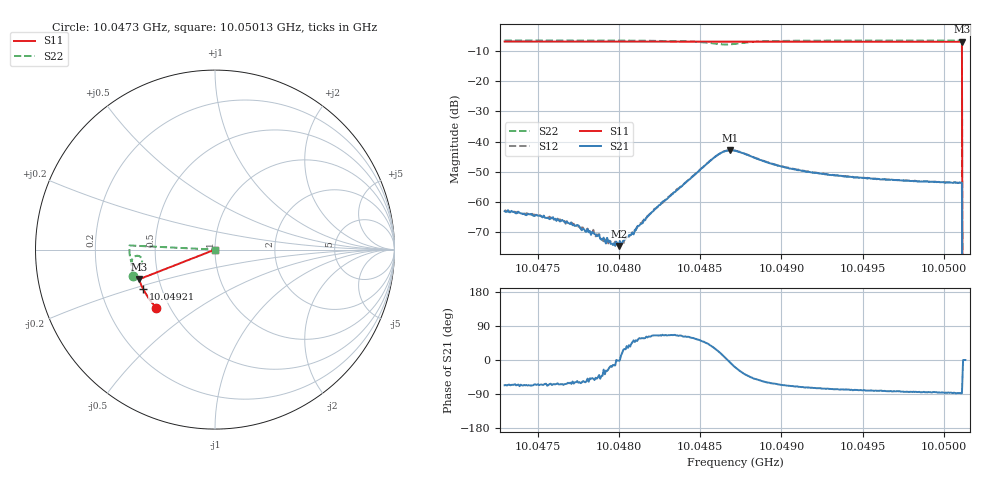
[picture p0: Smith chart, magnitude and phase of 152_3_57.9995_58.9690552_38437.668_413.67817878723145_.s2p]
#  HZ  S  RI  R  50.00
! Rohde & Schwarz Vector Network Analyzer
! Rohde-Schwarz,ZNB20-2Port,1311601062101988,3.16
! Created: UTC 3/21/2024, 12:57:05 AM
! freq[Hz]  re:S11  im:S11  re:S21  im:S21  re:S12  im:S12  re:S22  im:S22
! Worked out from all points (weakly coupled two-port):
!   401 points, 10.0473 GHz to 10.05013 GHz, reference 50 ohm
!   highest |S21| = -42.91 dB at 10.04869 GHz (marker M1); lowest = -74.7 dB at 10.048 GHz (marker M2)
!   lowest |S11| = -6.8 dB at 10.05011 GHz (marker M3), VSWR 2.67, Z = 19.3 - j8.07 ohm
!   |S11| at or under -10 dB: 10.05011 GHz to end of sweep
!   |S22| runs from - to -6.4 dB; largest |S21 - S12| = 0.00051
!   S11 on the Smith chart (normalised r, x): 10.0473 GHz: 0.42, -0.35; 10.04921 GHz: 0.39, -0.22; 10.05013 GHz: 1.00, +0.00
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1.0047297e10  -0.3278 -0.3232  0.000276 -0.000639  0.000317 -0.000652  -0.4563 -0.1456
1.0047595e10  -0.3408 -0.3085  0.000241 -0.000498  0.000261 -0.000457  -0.4616 -0.1251
1.0047744e10  -0.3472 -0.3007  0.000232 -0.000338  0.000241 -0.000328  -0.4637 -0.1142
1.0047772e10  -0.3484 -0.2993  0.000172 -0.000288  0.000223 -0.000299  -0.4641 -0.112
1.0047878e10  -0.3526 -0.2936  0.00022 -0.000182  0.000229 -0.000176  -0.4654 -0.1041
1.00479e10  -0.3535 -0.2927  0.000177 -0.000156  0.000197 -0.000114  -0.4655 -0.1023
1.0047963e10  -0.3562 -0.2892  0.000186 -4.34e-05  0.000191 -3.18e-05  -0.466 -0.0972
1.0047999e10  -0.3575 -0.2875  0.000183 -5.83e-06  0.00019 5.8e-05  -0.4663 -0.0943
1.004802e10  -0.3585 -0.2862  0.000197 6.38e-05  0.000184 5.3e-05  -0.4665 -0.0925
1.0048091e10  -0.3612 -0.2824  0.000177 0.000225  0.00022 0.000246  -0.467 -0.0864
1.0048247e10  -0.3674 -0.2741  0.000377 0.000792  0.000322 0.000798  -0.4664 -0.0713
1.0048587e10  -0.3794 -0.2551  0.00464 0.00284  0.00446 0.00313  -0.4247 -0.0356
1.0048644e10  -0.381 -0.2521  0.00666 0.00124  0.00662 0.00164  -0.4079 -0.0506
1.0048686e10  -0.3825 -0.2499  0.00709 -0.000944  0.00717 -0.000498  -0.407 -0.0694
1.0048715e10  -0.3835 -0.2484  0.00668 -0.00228  0.00684 -0.00179  -0.4133 -0.0797
1.0048963e10  -0.3923 -0.2346  0.00189 -0.00364  0.00208 -0.0036  -0.4634 -0.0703
1.004919e10  -0.3995 -0.2214  0.000883 -0.00293  0.00102 -0.00291  -0.4723 -0.0469
1.0049211e10  -0.4001 -0.2201  0.000824 -0.00288  0.001 -0.00288  -0.4729 -0.0449
1.0049664e10  -0.4131 -0.1932  0.000301 -0.00229  0.000426 -0.0023  -0.4766 -0.00872
1.0050097e10  -0.4236 -0.1666  0.000108 -0.00208  0.000225 -0.00206  -0.4763 0.0221
1.0050111e10  -0.4239 -0.1657  8.59e-05 -0.00206  0.000208 -0.00204  -0.4762 0.0231
1.0050132e10  0 0  0 0  0 0  0 0
